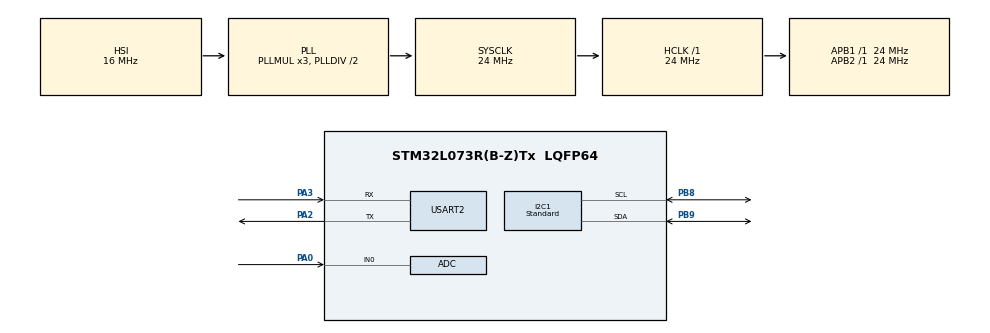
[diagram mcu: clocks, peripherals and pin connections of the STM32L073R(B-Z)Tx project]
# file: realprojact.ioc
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I2C1.I2C_Speed_Mode=I2C_Standard
I2C1.Timing=0x00506682
Mcu.Family=STM32L0
Mcu.Name=STM32L073R(B-Z)Tx
Mcu.Package=LQFP64
NVIC.TIM2_IRQn=true\:0\:0\:false\:false\:true\:true\:true\:true
PA0.Mode=IN0
PA0.Signal=ADC_IN0
PA2.Mode=Asynchronous
PA2.Signal=USART2_TX
PA3.Mode=Asynchronous
PA3.Signal=USART2_RX
PB8.Mode=I2C
PB8.Signal=I2C1_SCL
PB9.Mode=I2C
PB9.Signal=I2C1_SDA
PH0-OSC_IN.Mode=HSE-External-Oscillator
PH0-OSC_IN.Signal=RCC_OSC_IN
PH1-OSC_OUT.Mode=HSE-External-Oscillator
PH1-OSC_OUT.Signal=RCC_OSC_OUT
ProjectManager.HeapSize=0x200
ProjectManager.StackSize=0x400
ProjectManager.TargetToolchain=MDK-ARM V5.32
RCC.AHBFreq_Value=24000000
RCC.APB1Freq_Value=24000000
RCC.APB1TimFreq_Value=24000000
RCC.APB2Freq_Value=24000000
RCC.APB2TimFreq_Value=24000000
RCC.HCLKFreq_Value=24000000
RCC.HSE_VALUE=8000000
RCC.HSI16_VALUE=16000000
RCC.HSI48_VALUE=48000000
RCC.HSI_VALUE=16000000
RCC.LSE_VALUE=32768
RCC.MSI_VALUE=2097000
RCC.SYSCLKFreq_VALUE=24000000
RCC.SYSCLKSource=RCC_SYSCLKSOURCE_PLLCLK
RCC.VCOOutputFreq_Value=48000000
TIM2.AutoReloadPreload=TIM_AUTORELOAD_PRELOAD_ENABLE
TIM2.Period=800
TIM2.Prescaler=6000
USART2.VirtualMode-Asynchronous=VM_ASYNC
VP_TIM2_VS_ClockSourceINT.Mode=Internal
board=custom

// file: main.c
/* USER CODE BEGIN Header */
/**
  ******************************************************************************
  * @file           : main.c
  * @brief          : Main program body
  ******************************************************************************
  * @attention
  *
  * Copyright (c) 2024 STMicroelectronics.
  * All rights reserved.
  *
  * This software is licensed under terms that can be found in the LICENSE file
  * in the root directory of this software component.
  * If no LICENSE file comes with this software, it is provided AS-IS.
  *
  ******************************************************************************
  */
/* USER CODE END Header */
#include "main.h"

/* USER CODE BEGIN Includes */
#include "ssd1306.h"
#include "fonts.h"
#include <stdio.h>
/* USER CODE END Includes */

ADC_HandleTypeDef hadc;

I2C_HandleTypeDef hi2c1;

TIM_HandleTypeDef htim2;

UART_HandleTypeDef huart2;

/* USER CODE BEGIN PV */

#define MPU6050_ADDR 0xD0

#define SMPLRT_DIV_REG 0x19
#define GYRO_CONFIG_REG 0x1B
#define ACCEL_CONFIG_REG 0x1C
#define ACCEL_XOUT_H_REG 0x3B
#define TEMP_OUT_H_REG 0x41
#define GYRO_XOUT_H_REG 0x43
#define PWR_MGMT_1_REG 0x6B
#define WHO_AM_I_REG 0x75

int16_t Accel_X_RAW = 0;
int16_t Accel_Y_RAW = 0;
int16_t Accel_Z_RAW = 0;

int16_t Gyro_X_RAW = 0;
int16_t Gyro_Y_RAW = 0;
int16_t Gyro_Z_RAW = 0;

float Ax, Ay, Az, Gx, Gy, Gz;

#define MAX_SAMPLES 50
uint16_t readValue;
uint8_t MSG[100];
uint32_t adc_counter = 0;
float voltrms;
float voltage;
float voltamp = 0.1;
float ref_voltage_range =3.3;
float real_volt;
int ADC_range = 4095;
volatile float voltageArray[MAX_SAMPLES];
volatile int numSamples = 0;
uint8_t txbuf[64];
uint8_t TxBuffer[20];
uint8_t RxBuffer[20];
/* USER CODE END PV */

void SystemClock_Config(void);
static void MX_GPIO_Init(void);
static void MX_I2C1_Init(void);
static void MX_ADC_Init(void);
static void MX_TIM2_Init(void);
static void MX_USART2_UART_Init(void);

/* USER CODE BEGIN 0 */
void HandleError()
{
uint32_t uart_err;
uart_err=HAL_UART_GetError(&huart2);
}
void Value_toTerminal()
{
	sprintf((char*)txbuf, "Uamp = %.1f V\r\n", voltamp);
	HAL_UART_Transmit(&huart2, txbuf, strlen((char*)txbuf), HAL_MAX_DELAY);
	sprintf((char*)txbuf, "Urms = %.1f V\r\n", voltrms);
	HAL_UART_Transmit(&huart2, txbuf, strlen((char*)txbuf), HAL_MAX_DELAY);
	sprintf((char*)txbuf, "X = %.2f laipsn.\r\n", Gx);
	HAL_UART_Transmit(&huart2, txbuf, strlen((char*)txbuf), HAL_MAX_DELAY);
	sprintf((char*)txbuf, "Y = %.2f laipsn.\r\n", Gy);
	HAL_UART_Transmit(&huart2, txbuf, strlen((char*)txbuf), HAL_MAX_DELAY);
	sprintf((char*)txbuf, "Z = %.2f laipsn.\r\n", Gz);
	HAL_UART_Transmit(&huart2, txbuf, strlen((char*)txbuf), HAL_MAX_DELAY);
	sprintf((char*)txbuf, "\r\n");
	HAL_UART_Transmit(&huart2, txbuf, strlen((char*)txbuf), HAL_MAX_DELAY);
}
void OLED_displayInfo()
{
	#ifndef DISABLE_DISPLAY
	static char string_display[30];

	// Display I2C sensor redings
	SSD1306_GotoXY(0, 0);
	sprintf(string_display,"Urms=%.1f V    ",voltrms);
	SSD1306_Puts(string_display,&Font_7x10, 1);
	SSD1306_GotoXY(0, 12);
	sprintf(string_display,"Uamp=%.1f V    ",voltamp);
	SSD1306_Puts(string_display,&Font_7x10, 1);
	SSD1306_GotoXY(0, 27);
	sprintf(string_display,"X = %.2f laipsn. ",Gx);
	SSD1306_Puts(string_display,&Font_7x10, 1);
	SSD1306_GotoXY(0, 39);
	sprintf(string_display,"Y = %.2f laipsn. ",Gy);
	SSD1306_Puts(string_display,&Font_7x10, 1);
	SSD1306_GotoXY(0, 50);
	sprintf(string_display,"Z = %.2f laipsn. ",Gz);
	SSD1306_Puts(string_display,&Font_7x10, 1);
  SSD1306_UpdateScreen(&hi2c1);
	#endif

}

void HAL_TIM_PeriodElapsedCallback(TIM_HandleTypeDef *htim) {
    if (htim->Instance == TIM2) {
        adc_counter++;
				HAL_ADC_Start_IT(&hadc);
        if (adc_counter == 5) { // Update ADC every 0.2 seconds
						adc_counter = 0;
						OLED_displayInfo();
        }
    }
}
float findMaxVoltage(void)
{
    float maxVoltage = voltageArray[0];
    for (int i = 1; i < numSamples; i++)
    {
        if (voltageArray[i] > maxVoltage)
        {
            maxVoltage = voltageArray[i];
        }
    }
    return maxVoltage;
}
///////////--------------------------------------------------------////////////

void MPU6050_Init (void)
{
	uint8_t check, Data;

	// check device ID WHO_AM_I

	HAL_I2C_Mem_Read (&hi2c1, MPU6050_ADDR,WHO_AM_I_REG,1, &check, 1, 1000);

	if (check == 104) // if the device is present
	{
		// power management register 0x6B we should write all 0's to wake the sensor up
				Data = 0;
				HAL_I2C_Mem_Write(&hi2c1, MPU6050_ADDR, PWR_MGMT_1_REG, 1,&Data, 1, 1000);
		// Set DATA RATE of 1KHz by writing SMPLRT_DIV register
				Data = 0x07;
				HAL_I2C_Mem_Write(&hi2c1, MPU6050_ADDR, SMPLRT_DIV_REG, 1, &Data, 1, 1000);

				Data = 0x00;
				HAL_I2C_Mem_Write(&hi2c1, MPU6050_ADDR, ACCEL_CONFIG_REG, 1, &Data, 1, 1000);

				Data = 0x00;
				HAL_I2C_Mem_Write(&hi2c1, MPU6050_ADDR, GYRO_CONFIG_REG, 1, &Data, 1, 1000);
	}
}

void MPU6050_Read_Gyro (void)
{
	uint8_t Rec_Data[6];

	// Read 6 BYTES of data starting from ACCEL_XOUT_H register

	HAL_I2C_Mem_Read (&hi2c1, MPU6050_ADDR, GYRO_XOUT_H_REG, 1, Rec_Data, 6, 1000);

	Gyro_X_RAW = (int16_t)(Rec_Data[0] << 8 | Rec_Data [1]);
	Gyro_Y_RAW = (int16_t)(Rec_Data[2] << 8 | Rec_Data [3]);
	Gyro_Z_RAW = (int16_t)(Rec_Data[4] << 8 | Rec_Data [5]);

	Gx = (Gyro_X_RAW/131.0)+60;
	Gy = (Gyro_Y_RAW/131.0)+250;
	Gz = (Gyro_Z_RAW/131.0)*10-40;
}

///////////--------------------------------------------------------////////////
/* USER CODE END 0 */

int main(void)
{

  /* MCU Configuration--------------------------------------------------------*/

  /* Reset of all peripherals, Initializes the Flash interface and the Systick. */
  HAL_Init();

  /* Configure the system clock */
  SystemClock_Config();

  /* Initialize all configured peripherals */
  MX_GPIO_Init();
  MX_I2C1_Init();
  MX_ADC_Init();
  MX_TIM2_Init();
  MX_USART2_UART_Init();
  /* USER CODE BEGIN 2 */
	if(HAL_ADC_Start(&hadc)!=HAL_OK)
    {
      Error_Handler();
    }
	HAL_TIM_Base_Start_IT(&htim2);
	HAL_ADC_Start(&hadc);
	MPU6050_Init();
	SSD1306_Init(&hi2c1);
  /* USER CODE END 2 */

  /* Infinite loop */
  /* USER CODE BEGIN WHILE */
  while (1)
  {
		while(HAL_ADC_PollForConversion(&hadc, 1000)!=HAL_OK)
    {
      Error_Handler();
    }
readValue= HAL_ADC_GetValue(&hadc);
voltage= (float) ((readValue* ref_voltage_range)/ADC_range);
real_volt = (voltage*10000+voltage*4700)/4700;
MPU6050_Read_Gyro();
if (numSamples < MAX_SAMPLES) {
    voltageArray[numSamples++] = real_volt;
		}else {
     numSamples = 0;
					}
voltrms = voltamp*0.707;
voltamp = findMaxVoltage();
Value_toTerminal();
if (HAL_UART_Transmit(&huart2,TxBuffer,strlen(TxBuffer),1000)!=HAL_OK)
{
 HandleError();
};
    /* USER CODE END WHILE */

  }
}

void SystemClock_Config(void)
{
  RCC_OscInitTypeDef RCC_OscInitStruct = {0};
  RCC_ClkInitTypeDef RCC_ClkInitStruct = {0};
  RCC_PeriphCLKInitTypeDef PeriphClkInit = {0};

  /** Configure the main internal regulator output voltage
  */
  __HAL_PWR_VOLTAGESCALING_CONFIG(PWR_REGULATOR_VOLTAGE_SCALE1);

  /** Initializes the RCC Oscillators according to the specified parameters
  * in the RCC_OscInitTypeDef structure.
  */
  RCC_OscInitStruct.OscillatorType = RCC_OSCILLATORTYPE_HSI;
  RCC_OscInitStruct.HSIState = RCC_HSI_ON;
  RCC_OscInitStruct.HSICalibrationValue = RCC_HSICALIBRATION_DEFAULT;
  RCC_OscInitStruct.PLL.PLLState = RCC_PLL_ON;
  RCC_OscInitStruct.PLL.PLLSource = RCC_PLLSOURCE_HSI;
  RCC_OscInitStruct.PLL.PLLMUL = RCC_PLLMUL_3;
  RCC_OscInitStruct.PLL.PLLDIV = RCC_PLLDIV_2;
  if (HAL_RCC_OscConfig(&RCC_OscInitStruct) != HAL_OK)
  {
    Error_Handler();
  }

  /** Initializes the CPU, AHB and APB buses clocks
  */
  RCC_ClkInitStruct.ClockType = RCC_CLOCKTYPE_HCLK|RCC_CLOCKTYPE_SYSCLK
                              |RCC_CLOCKTYPE_PCLK1|RCC_CLOCKTYPE_PCLK2;
  RCC_ClkInitStruct.SYSCLKSource = RCC_SYSCLKSOURCE_PLLCLK;
  RCC_ClkInitStruct.AHBCLKDivider = RCC_SYSCLK_DIV1;
  RCC_ClkInitStruct.APB1CLKDivider = RCC_HCLK_DIV1;
  RCC_ClkInitStruct.APB2CLKDivider = RCC_HCLK_DIV1;

  if (HAL_RCC_ClockConfig(&RCC_ClkInitStruct, FLASH_LATENCY_1) != HAL_OK)
  {
    Error_Handler();
  }
  PeriphClkInit.PeriphClockSelection = RCC_PERIPHCLK_USART2|RCC_PERIPHCLK_I2C1;
  PeriphClkInit.Usart2ClockSelection = RCC_USART2CLKSOURCE_PCLK1;
  PeriphClkInit.I2c1ClockSelection = RCC_I2C1CLKSOURCE_PCLK1;
  if (HAL_RCCEx_PeriphCLKConfig(&PeriphClkInit) != HAL_OK)
  {
    Error_Handler();
  }
}

static void MX_ADC_Init(void)
{

  ADC_ChannelConfTypeDef sConfig = {0};

  /** Configure the global features of the ADC (Clock, Resolution, Data Alignment and number of conversion)
  */
  hadc.Instance = ADC1;
  hadc.Init.OversamplingMode = DISABLE;
  hadc.Init.ClockPrescaler = ADC_CLOCK_SYNC_PCLK_DIV2;
  hadc.Init.Resolution = ADC_RESOLUTION_12B;
  hadc.Init.SamplingTime = ADC_SAMPLETIME_1CYCLE_5;
  hadc.Init.ScanConvMode = ADC_SCAN_DIRECTION_FORWARD;
  hadc.Init.DataAlign = ADC_DATAALIGN_RIGHT;
  hadc.Init.ContinuousConvMode = DISABLE;
  hadc.Init.DiscontinuousConvMode = DISABLE;
  hadc.Init.ExternalTrigConvEdge = ADC_EXTERNALTRIGCONVEDGE_NONE;
  hadc.Init.ExternalTrigConv = ADC_SOFTWARE_START;
  hadc.Init.DMAContinuousRequests = DISABLE;
  hadc.Init.EOCSelection = ADC_EOC_SINGLE_CONV;
  hadc.Init.Overrun = ADC_OVR_DATA_PRESERVED;
  hadc.Init.LowPowerAutoWait = DISABLE;
  hadc.Init.LowPowerFrequencyMode = DISABLE;
  hadc.Init.LowPowerAutoPowerOff = DISABLE;
  if (HAL_ADC_Init(&hadc) != HAL_OK)
  {
    Error_Handler();
  }

  /** Configure for the selected ADC regular channel to be converted.
  */
  sConfig.Channel = ADC_CHANNEL_0;
  sConfig.Rank = ADC_RANK_CHANNEL_NUMBER;
  if (HAL_ADC_ConfigChannel(&hadc, &sConfig) != HAL_OK)
  {
    Error_Handler();
  }

}

static void MX_I2C1_Init(void)
{

  hi2c1.Instance = I2C1;
  hi2c1.Init.Timing = 0x00506682;
  hi2c1.Init.OwnAddress1 = 0;
  hi2c1.Init.AddressingMode = I2C_ADDRESSINGMODE_7BIT;
  hi2c1.Init.DualAddressMode = I2C_DUALADDRESS_DISABLE;
  hi2c1.Init.OwnAddress2 = 0;
  hi2c1.Init.OwnAddress2Masks = I2C_OA2_NOMASK;
  hi2c1.Init.GeneralCallMode = I2C_GENERALCALL_DISABLE;
  hi2c1.Init.NoStretchMode = I2C_NOSTRETCH_DISABLE;
  if (HAL_I2C_Init(&hi2c1) != HAL_OK)
  {
    Error_Handler();
  }

  /** Configure Analogue filter
  */
  if (HAL_I2CEx_ConfigAnalogFilter(&hi2c1, I2C_ANALOGFILTER_ENABLE) != HAL_OK)
  {
    Error_Handler();
  }

  /** Configure Digital filter
  */
  if (HAL_I2CEx_ConfigDigitalFilter(&hi2c1, 0) != HAL_OK)
  {
    Error_Handler();
  }

}

static void MX_TIM2_Init(void)
{

  TIM_ClockConfigTypeDef sClockSourceConfig = {0};
  TIM_MasterConfigTypeDef sMasterConfig = {0};

  htim2.Instance = TIM2;
  htim2.Init.Prescaler = 6000;
  htim2.Init.CounterMode = TIM_COUNTERMODE_UP;
  htim2.Init.Period = 800;
  htim2.Init.ClockDivision = TIM_CLOCKDIVISION_DIV1;
  htim2.Init.AutoReloadPreload = TIM_AUTORELOAD_PRELOAD_ENABLE;
  if (HAL_TIM_Base_Init(&htim2) != HAL_OK)
  {
    Error_Handler();
  }
  sClockSourceConfig.ClockSource = TIM_CLOCKSOURCE_INTERNAL;
  if (HAL_TIM_ConfigClockSource(&htim2, &sClockSourceConfig) != HAL_OK)
  {
    Error_Handler();
  }
  sMasterConfig.MasterOutputTrigger = TIM_TRGO_RESET;
  sMasterConfig.MasterSlaveMode = TIM_MASTERSLAVEMODE_DISABLE;
  if (HAL_TIMEx_MasterConfigSynchronization(&htim2, &sMasterConfig) != HAL_OK)
  {
    Error_Handler();
  }

}

static void MX_USART2_UART_Init(void)
{

  huart2.Instance = USART2;
  huart2.Init.BaudRate = 115200;
  huart2.Init.WordLength = UART_WORDLENGTH_8B;
  huart2.Init.StopBits = UART_STOPBITS_1;
  huart2.Init.Parity = UART_PARITY_NONE;
  huart2.Init.Mode = UART_MODE_TX_RX;
  huart2.Init.HwFlowCtl = UART_HWCONTROL_NONE;
  huart2.Init.OverSampling = UART_OVERSAMPLING_16;
  huart2.Init.OneBitSampling = UART_ONE_BIT_SAMPLE_DISABLE;
  huart2.AdvancedInit.AdvFeatureInit = UART_ADVFEATURE_NO_INIT;
  if (HAL_UART_Init(&huart2) != HAL_OK)
  {
    Error_Handler();
  }

}

static void MX_GPIO_Init(void)
{

  /* GPIO Ports Clock Enable */
  __HAL_RCC_GPIOH_CLK_ENABLE();
  __HAL_RCC_GPIOA_CLK_ENABLE();
  __HAL_RCC_GPIOB_CLK_ENABLE();

}

void Error_Handler(void)
{
  __disable_irq();
  while (1)
  {
  }
}
